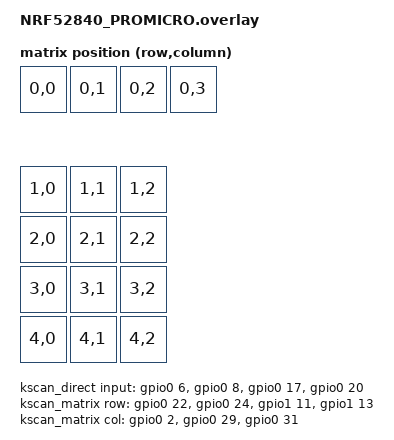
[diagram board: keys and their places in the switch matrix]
#include <dt-bindings/zmk/matrix_transform.h>
#include <physical_layouts.dtsi>
#include <zephyr/dt-bindings/led/led.h>

/*
 * Pro Micro nRF52840 (promicro_nrf52840) wiring for the behavior-coverage
 * test. Unlike the nrf52840-DK shield there are NO onboard buttons and no
 * Arduino header, so every key is wired to a broken-out Pro Micro pad. The
 * board exposes raw nRF GPIOs (there is no `pro_micro` nexus), so pins are
 * referenced as &gpio0 / &gpio1 directly.
 *
 * These are BENCH-TEST DEFAULTS — sensible free pins that avoid the board's
 * UART (P0.09/P0.10), I2C (P1.00/P0.11, P1.04/P1.06), SPI2 (P1.01/P1.02/P1.07)
 * and onboard LED (P0.15). Re-map to match however you actually wire the
 * board; the keymap positions (0-15) stay the same.
 *
 *   Direct keys (pos 0-3, momentary switch to GND):
 *     pos 0 = P0.06   pos 1 = P0.08   pos 2 = P0.17   pos 3 = P0.20
 *   4x3 matrix (col2row, 1N4148 per switch, cathode toward the row pin):
 *     rows = P0.22, P0.24, P1.11, P1.13
 *     cols = P0.02, P0.29, P0.31
 */

/ {
	chosen {
		zmk,physical-layout = &physical_layout_default;
		zmk,backlight = &backlight_pwm;
		zmk,underglow = &led_strip;
		zmk,ext-power = &ext_power_ctrl;
		// CDC ACM endpoint ZMK Studio's RPC transport binds to. Without
		// this the firmware exposes only the HID keyboard interface and
		// the host never enumerates a COM port for Studio.
		zmk,studio-rpc-uart = &studio_acm;
	};

	// Stub ext-power "switch" pinned to a spare pad (P0.28). The Pro Micro
	// has no real peripheral-power gate; this lets ZMK's RGB driver resolve
	// its hard ext_power dependency at build time and lets the &ext_power
	// EP_TOG / EP_ON / EP_OFF behaviors visibly toggle a pin.
	// Label is `ext_power_ctrl` (not `ext_power`) because ZMK's
	// behaviors.dtsi already labels its &ext_power *behavior* node with
	// the bare `ext_power` symbol.
	ext_power_ctrl: ext_power_ctrl {
		compatible = "zmk,ext-power-generic";
		control-gpios = <&gpio0 28 GPIO_ACTIVE_HIGH>;
		init-delay-ms = <10>;
	};

	// Physical layout — 16 keys in two clusters (identical shape to the DK
	// build): a 4u bar on top, then a 4x3 grid. Units are 1/100 of a key.
	physical_layout_default: physical_layout_default {
		compatible = "zmk,physical-layout";
		display-name = "PM Test";
		kscan = <&kscan>;
		transform = <&transform>;
		keys
			//                     w   h    x    y rot rx ry
			= <&key_physical_attrs 100 100    0    0   0  0  0>
			, <&key_physical_attrs 100 100  100    0   0  0  0>
			, <&key_physical_attrs 100 100  200    0   0  0  0>
			, <&key_physical_attrs 100 100  300    0   0  0  0>
			, <&key_physical_attrs 100 100    0  200   0  0  0>
			, <&key_physical_attrs 100 100  100  200   0  0  0>
			, <&key_physical_attrs 100 100  200  200   0  0  0>
			, <&key_physical_attrs 100 100    0  300   0  0  0>
			, <&key_physical_attrs 100 100  100  300   0  0  0>
			, <&key_physical_attrs 100 100  200  300   0  0  0>
			, <&key_physical_attrs 100 100    0  400   0  0  0>
			, <&key_physical_attrs 100 100  100  400   0  0  0>
			, <&key_physical_attrs 100 100  200  400   0  0  0>
			, <&key_physical_attrs 100 100    0  500   0  0  0>
			, <&key_physical_attrs 100 100  100  500   0  0  0>
			, <&key_physical_attrs 100 100  200  500   0  0  0>
			;
	};

	// Composite kscan stitches the 4 direct keys (direct kscan) and a 4x3
	// matrix into a single virtual 5x4 grid:
	//   row 0     = direct keys (cols 0-3)
	//   rows 1..4 = matrix (cols 0-2)
	// The matrix_transform below flattens that grid into 16 keymap
	// positions: 0-3 = direct, 4-15 = matrix in row-major order.
	kscan: kscan_composite {
		compatible = "zmk,kscan-composite";
		rows = <5>;
		columns = <4>;

		buttons {
			kscan = <&kscan_direct>;
			row-offset = <0>;
		};

		matrix {
			kscan = <&kscan_matrix>;
			row-offset = <1>;
		};
	};

	transform: transform {
		compatible = "zmk,matrix-transform";
		rows = <5>;
		columns = <4>;
		map = <
			RC(0,0) RC(0,1) RC(0,2) RC(0,3)
			RC(1,0) RC(1,1) RC(1,2)
			RC(2,0) RC(2,1) RC(2,2)
			RC(3,0) RC(3,1) RC(3,2)
			RC(4,0) RC(4,1) RC(4,2)
		>;
	};

	// Direct kscan on four broken-out pads. Switches are active-low (one
	// side to GND, the other to the pin) so use ACTIVE_LOW + internal pull-up.
	kscan_direct: kscan_direct {
		compatible = "zmk,kscan-gpio-direct";
		input-gpios
			= <&gpio0 6 (GPIO_ACTIVE_LOW | GPIO_PULL_UP)>
			, <&gpio0 8 (GPIO_ACTIVE_LOW | GPIO_PULL_UP)>
			, <&gpio0 17 (GPIO_ACTIVE_LOW | GPIO_PULL_UP)>
			, <&gpio0 20 (GPIO_ACTIVE_LOW | GPIO_PULL_UP)>
			;
	};

	// 4x3 matrix on broken-out pads. Wire each switch row-to-col with a
	// 1N4148 diode; cathode (band) toward the row pin (col2row).
	kscan_matrix: kscan_matrix {
		compatible = "zmk,kscan-gpio-matrix";
		diode-direction = "col2row";
		row-gpios
			= <&gpio0 22 (GPIO_ACTIVE_HIGH | GPIO_PULL_DOWN)>
			, <&gpio0 24 (GPIO_ACTIVE_HIGH | GPIO_PULL_DOWN)>
			, <&gpio1 11 (GPIO_ACTIVE_HIGH | GPIO_PULL_DOWN)>
			, <&gpio1 13 (GPIO_ACTIVE_HIGH | GPIO_PULL_DOWN)>
			;
		col-gpios
			= <&gpio0 2 GPIO_ACTIVE_HIGH>
			, <&gpio0 29 GPIO_ACTIVE_HIGH>
			, <&gpio0 31 GPIO_ACTIVE_HIGH>
			;
	};

	// Backlight = onboard LED (P0.15) driven through PWM0 channel 0. The
	// board's pwm0 pinctrl already routes channel 0 to P0.15, so no pinctrl
	// override is needed here (unlike the DK). The LED is active-low, so
	// polarity is inverted — "0%" leaves it off, "100%" lights it.
	backlight_pwm: backlight_pwm {
		compatible = "pwm-leds";
		bl_led_0: bl_led_0 {
			pwms = <&pwm0 0 PWM_MSEC(10) PWM_POLARITY_INVERTED>;
		};
	};
};

// WS2812 underglow on the board's SPI2 MOSI (P1.02). SPI2 is already enabled
// and pin-mapped by the board; we only add the strip child. (SPI2 is a legacy
// nordic,nrf-spi controller without EasyDMA — fine to build and drive a short
// strip for a bench test; a production board would prefer a nordic,nrf-spim
// bus for tighter WS2812 timing.)
&spi2 {
	led_strip: ws2812@0 {
		compatible = "worldsemi,ws2812-spi";
		reg = <0>;
		// SPI bit clock — 4 MHz keeps the 0/1 frame timings within the
		// WS2812 spec (~1.25 us per pixel bit).
		spi-max-frequency = <4000000>;
		// Adjust to match your strip length. The driver allocates a
		// per-LED buffer at boot so over-sizing wastes RAM.
		chain-length = <10>;
		spi-one-frame = <0x70>;
		spi-zero-frame = <0x40>;
		color-mapping = <LED_COLOR_ID_GREEN LED_COLOR_ID_RED LED_COLOR_ID_BLUE>;
	};
};

// CDC ACM USB function for ZMK Studio RPC transport. Lives on the board's USB
// device controller. The chosen `zmk,studio-rpc-uart` above wires Studio's
// UART RPC layer to this endpoint, which the host sees as a USB serial port.
&zephyr_udc0 {
	studio_acm: studio_acm {
		compatible = "zephyr,cdc-acm-uart";
	};
};
